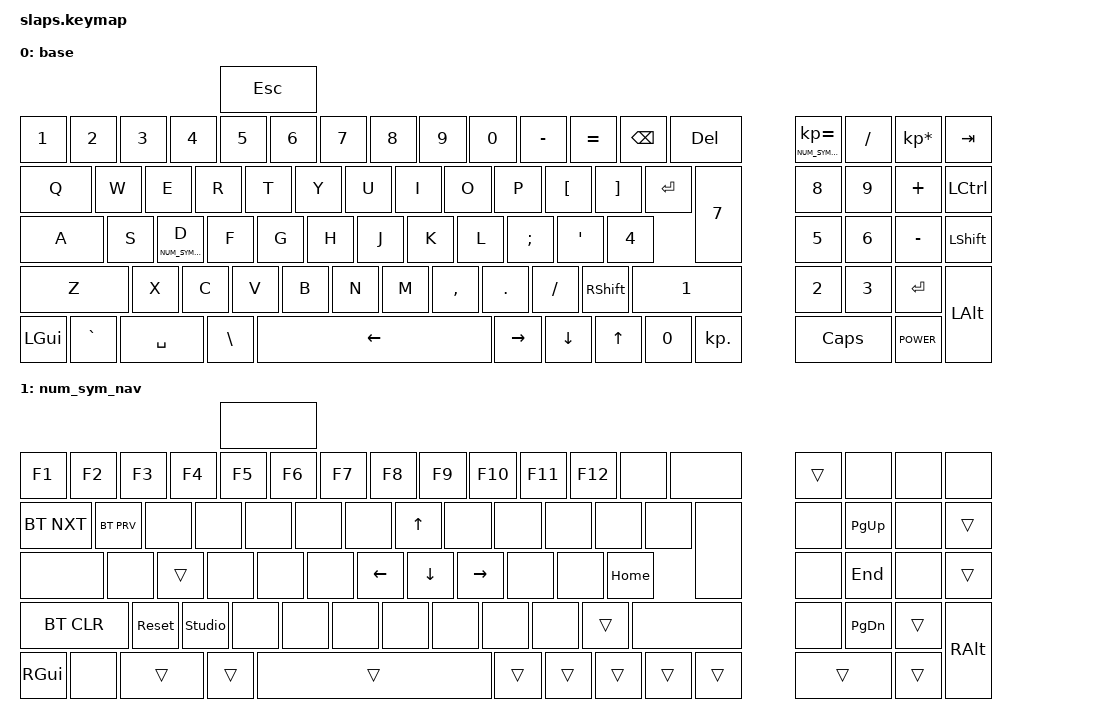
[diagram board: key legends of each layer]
/*
 * Copyright (c) 2024 Mick Reed
 *
 * SPDX-License-Identifier: MIT
 */

#include <behaviors.dtsi>
#include <dt-bindings/zmk/keys.h>
#include <dt-bindings/zmk/bt.h>

#define BASE 0
#define NUM_SYM_NAV 1
#define EXTRA1 2

/ {
    keymap {
        compatible = "zmk,keymap";

        base {
            bindings = <
                &kp ESCAPE &kp NUMBER_1 &kp NUMBER_2 &kp NUMBER_3 &kp NUMBER_4 &kp NUMBER_5 &kp NUMBER_6 &kp NUMBER_7 &kp NUMBER_8 &kp NUMBER_9 &kp NUMBER_0 &kp MINUS &kp EQUAL &kp BACKSPACE &kp DELETE &lt NUM_SYM_NAV KP_EQUAL &kp SLASH &kp KP_MULTIPLY
                &kp TAB &kp Q &kp W &kp E &kp R &kp T &kp Y &kp U &kp I &kp O &kp P &kp LEFT_BRACKET &kp RIGHT_BRACKET &kp RETURN &kp NUMBER_7 &kp NUMBER_8 &kp NUMBER_9 &kp PLUS
                &kp LEFT_CONTROL &kp A &kp S &lt NUM_SYM_NAV D &kp F &kp G &kp H &kp J &kp K &kp L &kp SEMICOLON &kp SINGLE_QUOTE &kp NUMBER_4 &kp NUMBER_5 &kp NUMBER_6 &kp MINUS
                &kp LEFT_SHIFT &kp Z &kp X &kp C &kp V &kp B &kp N &kp M &kp COMMA &kp PERIOD &kp SLASH &kp RIGHT_SHIFT &kp NUMBER_1 &kp NUMBER_2 &kp NUMBER_3 &kp ENTER
                &kp LEFT_ALT &kp LEFT_GUI &kp GRAVE &kp SPACE &kp BACKSLASH &kp LEFT &kp RIGHT &kp DOWN &kp UP &kp NUMBER_0 &kp KP_DOT
                &kp CAPS &kp C_POWER
            >;
        };
        num_sym_nav {
            bindings = <
                &none &kp F1 &kp F2 &kp F3 &kp F4 &kp F5 &kp F6 &kp F7 &kp F8 &kp F9 &kp F10 &kp F11 &kp F12 &none &none &trans &none &none
                &none &bt BT_NXT &bt BT_PRV &none &none &none &none &none &kp UP &none &none &none &none &none &none &none &kp PAGE_UP &none
                &trans &none &none &trans &none &none &none &kp LEFT &kp DOWN &kp RIGHT &none &none &kp HOME &none &kp END &none
                &trans &bt BT_CLR &sys_reset &studio_unlock &none &none &none &none &none &none &none &trans &none &none &kp PAGE_DOWN &trans
                &kp RIGHT_ALT &kp RIGHT_GUI &none &trans &trans &trans &trans &trans &trans &trans &trans
                &trans &trans
            >;
        };
        extra1 {
            status = "reserved";
        };

    };
};

